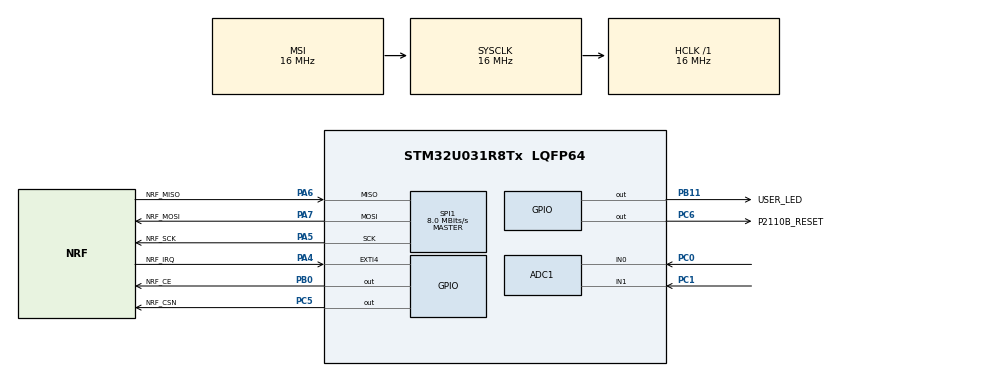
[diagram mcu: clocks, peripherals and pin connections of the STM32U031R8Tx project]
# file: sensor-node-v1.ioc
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ADC1.NbrOfConversionFlag=1
ADC1.RankArg-0\#ChannelRegularConversion=ADC_REGULAR_RANK_1
ADC1.SelectedChannel=ADC_CHANNEL_0|ADC_CHANNEL_1|ADC_CHANNEL_TEMPSENSOR
ADC1.master=1
Mcu.Family=STM32U0
Mcu.Name=STM32U031R8Tx
Mcu.Package=LQFP64
NVIC.PriorityGroup=NVIC_PRIORITYGROUP_2
PA13\ (SWDIO).Mode=Serial_Wire
PA13\ (SWDIO).Signal=DEBUG_JTMS-SWDIO
PA14\ (SWCLK).Mode=Serial_Wire
PA14\ (SWCLK).Signal=DEBUG_JTCK-SWCLK
PA4.GPIO_Label=NRF_IRQ
PA4.Signal=GPXTI4
PA5.GPIO_Label=NRF_SCK
PA5.Mode=Full_Duplex_Master
PA5.Signal=SPI1_SCK
PA6.GPIO_Label=NRF_MISO
PA6.Mode=Full_Duplex_Master
PA6.Signal=SPI1_MISO
PA7.GPIO_Label=NRF_MOSI
PA7.Mode=Full_Duplex_Master
PA7.Signal=SPI1_MOSI
PB0.GPIO_Label=NRF_CE
PB0.Signal=GPIO_Output
PB11.GPIO_Label=USER_LED
PB11.Signal=GPIO_Output
PC0.GPIO_Mode=GPIO_MODE_ANALOG
PC0.GPIO_PuPd=GPIO_NOPULL
PC0.Mode=IN0
PC0.Signal=ADC1_IN0
PC1.GPIO_Mode=GPIO_MODE_ANALOG
PC1.GPIO_PuPd=GPIO_NOPULL
PC1.Mode=IN1
PC1.Signal=ADC1_IN1
PC5.GPIO_Label=NRF_CSN
PC5.Signal=GPIO_Output
PC6.GPIO_Label=P2110B_RESET
PC6.Signal=GPIO_Output
ProjectManager.HeapSize=0x200
ProjectManager.StackSize=0x400
ProjectManager.TargetToolchain=CMake
RCC.ADCFreq_Value=16000000
RCC.AHBFreq_Value=16000000
RCC.CortexFreq_Value=16000000
RCC.HCLKFreq_Value=16000000
RCC.HSE_VALUE=4000000
RCC.HSI48_VALUE=48000000
RCC.HSI_VALUE=16000000
RCC.LSE_VALUE=32768
RCC.MSIClockRangeVal=RCC_MSIRANGE_8
RCC.MSI_VALUE=16000000
RCC.SYSCLKFreq_VALUE=16000000
RCC.SYSCLKSource=RCC_SYSCLKSOURCE_MSI
RCC.VCOOutputFreq_Value=64000000
SPI1.CalculateBaudRate=8.0 MBits/s
SPI1.DataSize=SPI_DATASIZE_8BIT
SPI1.Direction=SPI_DIRECTION_2LINES
SPI1.Mode=SPI_MODE_MASTER
SPI1.VirtualType=VM_MASTER
VP_ADC1_TempSens_Input.Mode=IN-TempSens
VP_PWR_VS_SECSignals.Mode=Security/Privilege
VP_RNG_VS_RNG.Mode=RNG_Activate
board=custom

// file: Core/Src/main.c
/* USER CODE BEGIN Header */
/**
 ******************************************************************************
 * @file           : main.c
 * @brief          : Main program body
 ******************************************************************************
 * @attention
 *
 * Copyright (c) 2024 STMicroelectronics.
 * All rights reserved.
 *
 * This software is licensed under terms that can be found in the LICENSE file
 * in the root directory of this software component.
 * If no LICENSE file comes with this software, it is provided AS-IS.
 *
 ******************************************************************************
 */
/* USER CODE END Header */
#include "main.h"
#include "adc.h"
#include "gpio.h"
#include "rng.h"
#include "spi.h"

/* USER CODE BEGIN Includes */

#include "nrf24l01.h"
#include "stm32u0xx_hal_adc.h"

/* USER CODE END Includes */

/* USER CODE BEGIN PD */

#define SINGLE_TRANSMISSION 1
#define TX_DELAY_MS 25
#define NUM_MSGS 1

#define BURST_MSG_NUM 3

#define START_DELAY_MS 0
#define STOP_DELAY_MS 0

#define CONSECUTIVE_BURST_DELAY_MS 0

#define SETUP_TO_TX_DELAY_MS 1

#define ENABLE_RESET 1

/* USER CODE END PD */

void SystemClock_Config(void);
/* USER CODE BEGIN PFP */

void read_back_config(void);

/* USER CODE END PFP */

int main(void) {

  /* USER CODE BEGIN 1 */

  uint8_t tx_payload[MAX_DATA_BYTES] = {0};
  uint8_t rx_buffer[MAX_DATA_BYTES] = {0};

  uint8_t rf_payload[PAYLOAD_SZ_BYTES] = {0};

  HAL_StatusTypeDef send_status = HAL_ERROR;

  /* USER CODE END 1 */

  /* MCU Configuration--------------------------------------------------------*/

  /* Reset of all peripherals, Initializes the Flash interface and the Systick.
   */
  HAL_Init();

  /* Configure the system clock */
  SystemClock_Config();

  /* Initialize all configured peripherals */
  MX_GPIO_Init();
  MX_SPI1_Init();
  MX_ADC1_Init();
  MX_RNG_Init();
  /* USER CODE BEGIN 2 */

  // make sure RESET signal to power harvester is low
  HAL_GPIO_WritePin(P2110B_RESET_GPIO_Port, P2110B_RESET_Pin, GPIO_PIN_RESET);

  HAL_PWREx_EnableLowPowerRunMode();

  HAL_ADC_Start(&hadc1);

  tx_spi_cmd(R_REGISTER(CONFIG_REGISTER), NULL, 0);

  HAL_Delay(START_DELAY_MS);

  // [REQUIRED] make sure to power on the device
  tx_payload[0] = 0b00001110;
  tx_spi_cmd(W_REGISTER(CONFIG_REGISTER), tx_payload, 1);

  // [REQUIRED] set payload size for pipe 0
  tx_payload[0] = PAYLOAD_SZ_BYTES;
  tx_spi_cmd(W_REGISTER(RX_PW_P0), tx_payload, 1);

  // [REQUIRED] set the RF configuration
  NrfRfSetup_t rf_config = {.data_power = ZERO_DBM, .data_rate = TWO_MBPS};
  nrf24l01_setup_rf(&rf_config);

  // [NOT REQUIRED] disable auto-retransmission
  tx_payload[0] = 0x0;
  tx_spi_cmd(W_REGISTER(SETUP_RETR), tx_payload, 1);

  // tx_payload[0] = 0x3;
  // tx_spi_cmd(W_REGISTER(SETUP_RETR), tx_payload, 1);

  // [REQUIRED] enable `W_TX_PAYLOAD_NOACK` command
  tx_payload[0] = 0x1;
  tx_spi_cmd(W_REGISTER(FEATURE), tx_payload, 1);

  // [NOT REQUIRED] flush the TX buffer
  tx_spi_cmd(FLUSH_TX, NULL, 0);

  read_back_config();

  // required when MCU clock speed is more than or equal to 24MHz
  HAL_Delay(STOP_DELAY_MS);

  uint32_t pressure_val = HAL_ADC_GetValue(&hadc1);
  uint16_t pressure_val_lo = pressure_val & 0xffff;

  // generate random number so that each burst message has an ID
  uint32_t random_id = 0;
  HAL_RNG_GenerateRandomNumber(&hrng, &random_id);

  // TEMP: first 4 bytes is the random ID
  *(((uint32_t *)rf_payload) + 0) = random_id;
  // second four bytes is the pressure value
  *(((uint32_t *)rf_payload) + 1) = pressure_val_lo;

  // send burst of RF messages
  for (int i = 0; i < BURST_MSG_NUM; i++) {
    send_status = nrf24l01_send_msg_noack(rf_payload, PAYLOAD_SZ_BYTES);
    HAL_Delay(CONSECUTIVE_BURST_DELAY_MS);
  }

#if (ENABLE_RESET)
  HAL_Delay(SETUP_TO_TX_DELAY_MS);
  // reset the power harvester so we don't consume all the stored power
  HAL_GPIO_WritePin(P2110B_RESET_GPIO_Port, P2110B_RESET_Pin, GPIO_PIN_SET);
#endif

  /* USER CODE END 2 */

  /* Infinite loop */
  while (1) {

    /* USER CODE BEGIN 3 */

    // load pressure value into the RF payload

    // HAL_GPIO_TogglePin(USER_LED_GPIO_Port, USER_LED_Pin);
  }
  /* USER CODE END 3 */
}

void SystemClock_Config(void) {
  RCC_OscInitTypeDef RCC_OscInitStruct = {0};
  RCC_ClkInitTypeDef RCC_ClkInitStruct = {0};

  /** Configure the main internal regulator output voltage
   */
  HAL_PWREx_ControlVoltageScaling(PWR_REGULATOR_VOLTAGE_SCALE2);

  /** Initializes the RCC Oscillators according to the specified parameters
   * in the RCC_OscInitTypeDef structure.
   */
  RCC_OscInitStruct.OscillatorType = RCC_OSCILLATORTYPE_MSI;
  RCC_OscInitStruct.MSIState = RCC_MSI_ON;
  RCC_OscInitStruct.MSICalibrationValue = RCC_MSICALIBRATION_DEFAULT;
  RCC_OscInitStruct.MSIClockRange = RCC_MSIRANGE_8;
  RCC_OscInitStruct.PLL.PLLState = RCC_PLL_NONE;
  if (HAL_RCC_OscConfig(&RCC_OscInitStruct) != HAL_OK) {
    Error_Handler();
  }

  /** Initializes the CPU, AHB and APB buses clocks
   */
  RCC_ClkInitStruct.ClockType =
      RCC_CLOCKTYPE_HCLK | RCC_CLOCKTYPE_SYSCLK | RCC_CLOCKTYPE_PCLK1;
  RCC_ClkInitStruct.SYSCLKSource = RCC_SYSCLKSOURCE_MSI;
  RCC_ClkInitStruct.AHBCLKDivider = RCC_SYSCLK_DIV1;
  RCC_ClkInitStruct.APB1CLKDivider = RCC_HCLK_DIV1;

  if (HAL_RCC_ClockConfig(&RCC_ClkInitStruct, FLASH_LATENCY_1) != HAL_OK) {
    Error_Handler();
  }
}

/* USER CODE BEGIN 4 */

void read_back_config(void) {
  uint8_t rx_buffer[RX_BUF_SZ_BYTES] = {0};

  tx_rx_spi_cmd(R_REGISTER(CONFIG_REGISTER), NULL, 0, rx_buffer, 1);
  uint8_t config = rx_buffer[0];
  memset(&rx_buffer, 0, sizeof(rx_buffer));

  tx_rx_spi_cmd(R_REGISTER(EN_RXADDR), NULL, 0, rx_buffer, 1);
  uint8_t endp = rx_buffer[0];
  memset(&rx_buffer, 0, sizeof(rx_buffer));

  tx_rx_spi_cmd(R_REGISTER(SETUP_RETR), NULL, 0, rx_buffer, 1);
  uint8_t setup_retr = rx_buffer[0];
  memset(&rx_buffer, 0, sizeof(rx_buffer));

  tx_rx_spi_cmd(R_REGISTER(RF_CH), NULL, 0, rx_buffer, 1);
  uint8_t rfch = rx_buffer[0];
  memset(&rx_buffer, 0, sizeof(rx_buffer));

  tx_rx_spi_cmd(R_REGISTER(RF_SETUP), NULL, 0, rx_buffer, 1);
  uint8_t rfsetup = rx_buffer[0];
  memset(&rx_buffer, 0, sizeof(rx_buffer));

  tx_rx_spi_cmd(R_REGISTER(RX_ADDR_P0), NULL, 0, rx_buffer, 5);
  uint32_t rx_addr_p0_hi = *((uint32_t *)rx_buffer);
  uint32_t rx_addr_p0_lo = *((uint32_t *)rx_buffer + 1);
  memset(&rx_buffer, 0, sizeof(rx_buffer));

  tx_rx_spi_cmd(R_REGISTER(TX_ADDR), NULL, 0, rx_buffer, 5);
  uint32_t tx_addr_hi = *((uint32_t *)rx_buffer);
  uint32_t tx_addr_lo = *((uint32_t *)rx_buffer + 1);
  memset(&rx_buffer, 0, sizeof(rx_buffer));

  tx_rx_spi_cmd(R_REGISTER(RX_PW_P0), NULL, 0, rx_buffer, 5);
  uint8_t rx_pw_p0 = rx_buffer[0];
  memset(&rx_buffer, 0, sizeof(rx_buffer));

  tx_rx_spi_cmd(R_REGISTER(FEATURE), NULL, 0, rx_buffer, 1);
  uint8_t feature = rx_buffer[0];
  memset(&rx_buffer, 0, sizeof(rx_buffer));
}

/* USER CODE END 4 */

void Error_Handler(void) {
  __disable_irq();
  while (1) {
  }
}
